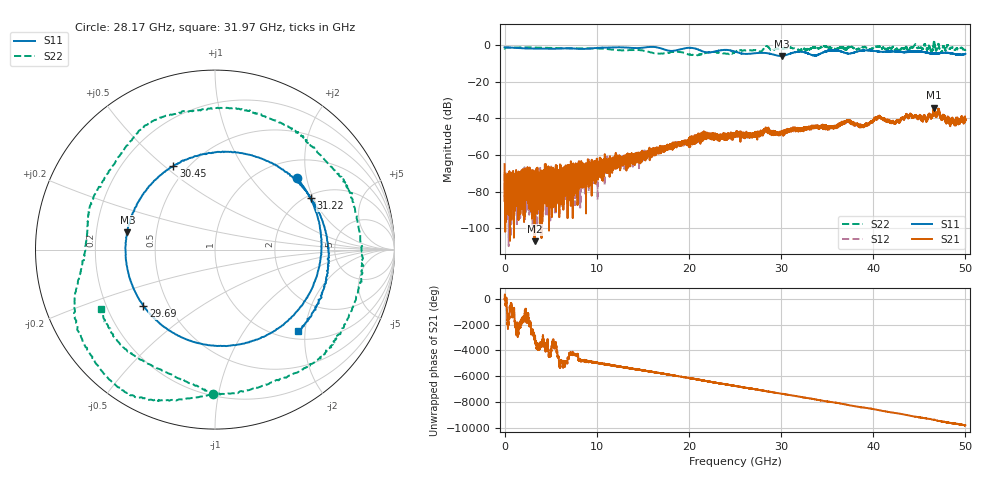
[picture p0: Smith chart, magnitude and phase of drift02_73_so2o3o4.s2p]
!Created with skrf (http://scikit-rf.org).
# Hz S RI R 50.0
!freq ReS11 ImS11 ReS21 ImS21 ReS12 ImS12 ReS22 ImS22
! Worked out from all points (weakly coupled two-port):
!   10001 points, 300 kHz to 50 GHz, reference 50 ohm
!   highest |S21| = -34.16 dB at 46.61 GHz (marker M1); lowest = -107.1 dB at 3.245 GHz (marker M2)
!   lowest |S11| = -6.1 dB at 30.05 GHz (marker M3), VSWR 2.98, Z = 16.9 + j4.32 ohm
!   |S11| at or under -10 dB: nowhere
!   |S22| runs from -5.7 to 2.4 dB; largest |S21 - S12| = 0.0037
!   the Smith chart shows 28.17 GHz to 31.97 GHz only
!   S11 on the Smith chart (normalised r, x): 28.17 GHz: 1.38, +1.75; 29.69 GHz: 0.36, -0.31; 30.45 GHz: 0.42, +0.54; 31.22 GHz: 2.12, +1.91; 31.97 GHz: 1.18, -1.84
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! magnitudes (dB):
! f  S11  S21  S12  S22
! 300 kHz  -1.3  -65.0  -69.3  -2.0
! 305.3 MHz  -1.3  -83.8  -75.3  -1.4
! 3.245 GHz  -2.0  -107.1  -75.4  -1.4
! 6.2 GHz  -1.9  -67.2  -80.1  -1.7
! 8.335 GHz  -2.2  -67.9  -68.3  -1.9
! 16.67 GHz  -1.5  -57.0  -57.6  -4.7
! 21.67 GHz  -3.8  -49.8  -48.5  -4.6
! 25 GHz  -3.7  -49.5  -49.4  -3.9
! 28.17 GHz  -4.3  -47.6  -47.1  -1.9
! 29.69 GHz  -5.9  -48.0  -47.8  -2.1
! 30.05 GHz  -6.1  -48.7  -47.5  -2.0
! 30.45 GHz  -5.7  -46.4  -46.8  -1.8
! 31.22 GHz  -4.4  -45.8  -46.0  -1.7
! 31.97 GHz  -3.8  -46.0  -46.0  -2.9
! 33.34 GHz  -5.5  -44.8  -44.8  -1.6
! 37.27 GHz  -4.7  -41.4  -41.2  -1.2
! 38.88 GHz  -3.0  -43.7  -44.4  -1.4
! 40.64 GHz  -3.7  -38.8  -39.1  -1.0
! 41.67 GHz  -3.7  -41.2  -41.3  -1.8
! 46.61 GHz  -4.7  -34.2  -34.8  2.3
! 48.56 GHz  -4.7  -42.4  -41.0  -1.6
! 50 GHz  -4.9  -40.8  -41.4  -2.6
